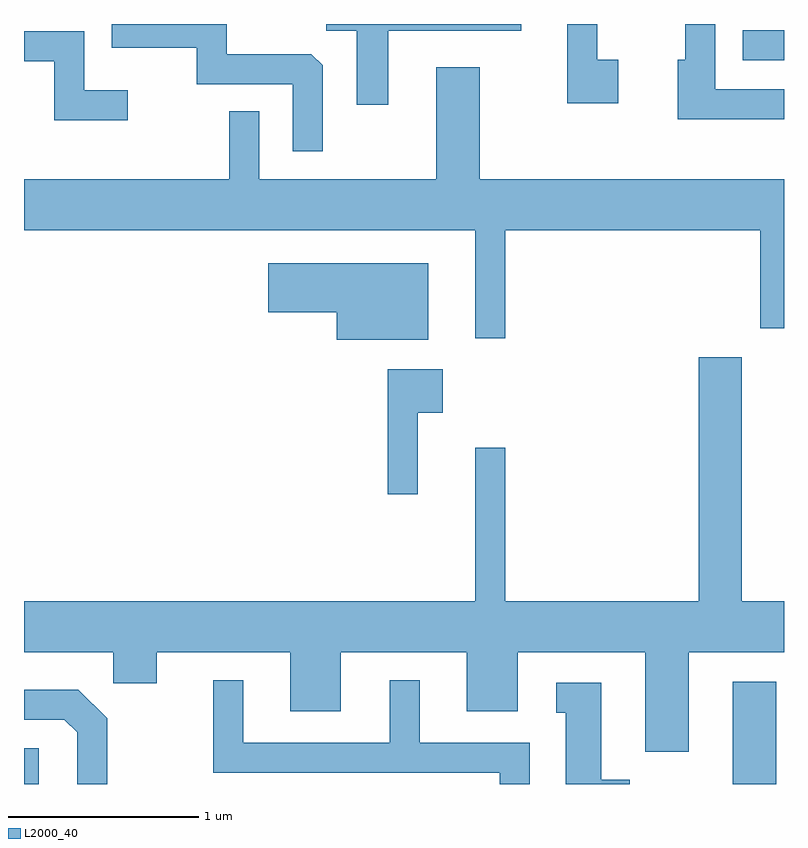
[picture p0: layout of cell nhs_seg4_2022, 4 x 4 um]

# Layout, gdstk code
import gdstk
lib = gdstk.Library(unit=1e-6, precision=1e-09)
def R(c, l, rs):  # rectangles x0, y0, x1, y1
    for r in rs: c.add(gdstk.rectangle(r[:2], r[2:], *l))
def P(c, l, *ps):  # polygons
    for p in ps: c.add(gdstk.Polygon(p, *l))
L2000_40 = (2000, 40)

nhs_seg4_2022 = lib.new_cell('nhs_seg4_2022')
R(nhs_seg4_2022, L2000_40, [(243.611,1353.982,243.689,1354.169), (247.341,1353.982,247.569,1354.519), (247.393,1357.791,247.611,1357.949)])
P(nhs_seg4_2022, L2000_40, [(247.611,1357.639),(247.249,1357.639),(247.249,1357.982),(247.091,1357.982),(247.091,1357.794),(247.051,1357.794),(247.051,1357.481),(247.611,1357.481)],
  [(245.184,1357.764),(245.124,1357.824),(244.679,1357.824),(244.679,1357.982),(244.073,1357.982),(244.073,1357.856),(244.521,1357.856),(244.521,1357.666),(245.026,1357.666),(245.026,1357.313),(245.184,1357.313)],
  [(246.739,1357.794),(246.629,1357.794),(246.629,1357.982),(246.471,1357.982),(246.471,1357.566),(246.739,1357.566)],
  [(245.529,1357.946),(246.229,1357.946),(246.229,1357.982),(245.201,1357.982),(245.201,1357.946),(245.361,1357.946),(245.361,1357.558),(245.529,1357.558)],
  [(244.158,1357.634),(243.929,1357.634),(243.929,1357.944),(243.611,1357.944),(243.611,1357.786),(243.771,1357.786),(243.771,1357.476),(244.158,1357.476)],
  [(246.144,1356.896),(247.486,1356.896),(247.486,1356.381),(247.611,1356.381),(247.611,1357.164),(246.009,1357.164),(246.009,1357.754),(245.781,1357.754),(245.781,1357.164),(244.849,1357.164),(244.849,1357.523),(244.691,1357.523),(244.691,1357.164),(243.611,1357.164),(243.611,1356.896),(245.986,1356.896),(245.986,1356.328),(246.144,1356.328)],
  [(245.739,1356.724),(244.896,1356.724),(244.896,1356.466),(245.256,1356.466),(245.256,1356.321),(245.739,1356.321)],
  [(247.109,1354.676),(247.611,1354.676),(247.611,1354.944),(247.389,1354.944),(247.389,1356.229),(247.161,1356.229),(247.161,1354.944),(246.144,1354.944),(246.144,1355.753),(245.986,1355.753),(245.986,1354.944),(243.611,1354.944),(243.611,1354.676),(244.081,1354.676),(244.081,1354.511),(244.309,1354.511),(244.309,1354.676),(245.011,1354.676),(245.011,1354.366),(245.279,1354.366),(245.279,1354.676),(245.941,1354.676),(245.941,1354.366),(246.209,1354.366),(246.209,1354.676),(246.881,1354.676),(246.881,1354.151),(247.109,1354.151)],
  [(245.684,1355.936),(245.814,1355.936),(245.814,1356.164),(245.526,1356.164),(245.526,1355.508),(245.684,1355.508)],
  [(246.274,1354.199),(245.694,1354.199),(245.694,1354.528),(245.536,1354.528),(245.536,1354.199),(244.764,1354.199),(244.764,1354.528),(244.606,1354.528),(244.606,1354.041),(246.116,1354.041),(246.116,1353.982),(246.274,1353.982)],
  [(246.799,1354.004),(246.649,1354.004),(246.649,1354.514),(246.413,1354.514),(246.413,1354.356),(246.461,1354.356),(246.461,1353.982),(246.799,1353.982)],
  [(244.049,1354.327),(243.897,1354.479),(243.611,1354.479),(243.611,1354.321),(243.824,1354.321),(243.891,1354.254),(243.891,1353.982),(244.049,1353.982)])

lib.write_gds('nhs_seg4_2022.gds')
